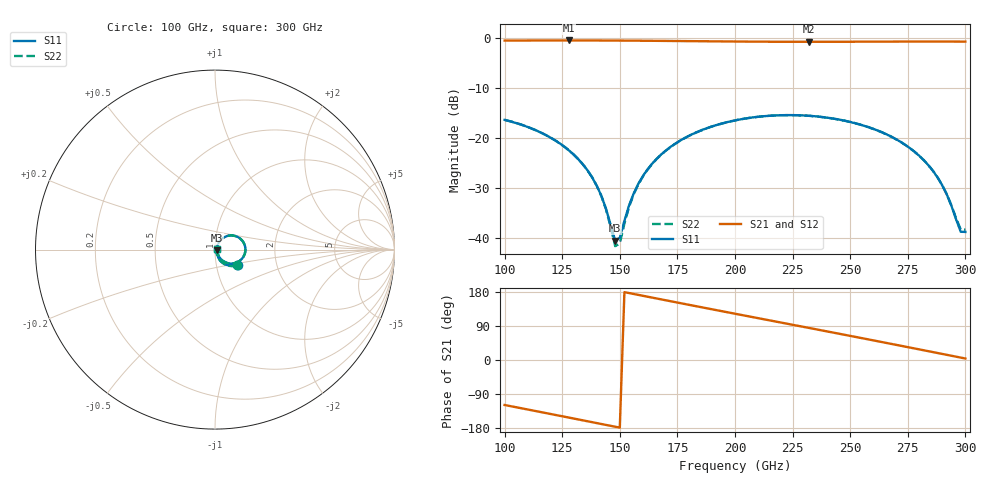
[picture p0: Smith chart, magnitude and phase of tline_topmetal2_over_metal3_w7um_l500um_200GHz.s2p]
#  GHZ S DB R 50
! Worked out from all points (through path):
!   101 points, 100 GHz to 300 GHz, reference 50 ohm
!   highest |S21| = -0.49 dB at 128 GHz (marker M1); lowest = -0.8 dB at 232 GHz (marker M2)
!   group delay of S21, straight-line fit = 3.29 ps
!   lowest |S11| = -40.5 dB at 148 GHz (marker M3), VSWR 1.02, Z = 50.9 - j0.32 ohm
!   |S11| at or under -10 dB: start of sweep to end of sweep
!   |S22| runs from -41.6 to -15.4 dB; largest |S21 - S12| = 1.1e-14
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100  -16.37 -34.1  -0.51 -118.7  -0.51 -118.7  -16.36 -34.6
116  -18.97 -50.9  -0.49 -137.7  -0.49 -137.7  -18.96 -51.6
128  -22.50 -62.2  -0.49 -152.1  -0.49 -152.1  -22.49 -63.3
134  -25.29 -66.4  -0.49 -159.3  -0.49 -159.3  -25.28 -67.9
142  -31.56 -65.2  -0.50 -168.9  -0.50 -168.9  -31.62 -68.2
148  -40.51 -19.4  -0.51 -176.1  -0.51 -176.1  -41.63 -23.8
150  -39.94 22.4  -0.52 -178.5  -0.52 -178.5  -41.10 24.6
154  -33.50 55.9  -0.53 176.7  -0.53 176.7  -33.81 58.8
158  -29.19 61.5  -0.54 171.9  -0.54 171.9  -29.32 63.3
168  -23.27 57.6  -0.57 159.9  -0.57 159.9  -23.32 58.4
182  -19.11 44.6  -0.63 143.3  -0.63 143.3  -19.14 45.0
200  -16.47 25.7  -0.70 122.1  -0.70 122.1  -16.48 25.8
216  -15.52 8.4  -0.74 103.4  -0.74 103.4  -15.53 8.4
232  -15.55 -8.9  -0.76 84.8  -0.76 84.8  -15.56 -9.0
234  -15.62 -11.1  -0.76 82.4  -0.76 82.4  -15.63 -11.2
250  -16.79 -28.3  -0.74 63.7  -0.74 63.7  -16.79 -28.4
268  -19.77 -46.9  -0.72 42.3  -0.72 42.3  -19.77 -46.9
278  -22.77 -55.7  -0.71 30.4  -0.71 30.4  -22.77 -55.7
286  -26.62 -60.0  -0.71 20.8  -0.71 20.8  -26.60 -59.7
292  -31.38 -56.5  -0.71 13.5  -0.71 13.5  -31.32 -55.7
298  -38.75 -15.6  -0.72 6.3  -0.72 6.3  -38.32 -14.8
300  -38.79 17.7  -0.72 3.9  -0.72 3.9  -38.32 16.6
